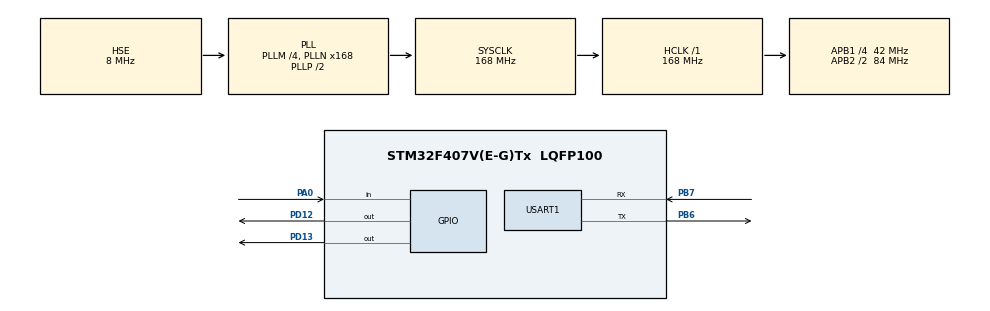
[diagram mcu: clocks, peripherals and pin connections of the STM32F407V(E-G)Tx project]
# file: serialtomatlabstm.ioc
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Mcu.Family=STM32F4
Mcu.Name=STM32F407V(E-G)Tx
Mcu.Package=LQFP100
NVIC.PriorityGroup=NVIC_PRIORITYGROUP_0
NVIC.USART1_IRQn=true\:0\:0\:false\:false\:true\:true
PA0-WKUP.Signal=GPIO_Input
PB6.Mode=Asynchronous
PB6.Signal=USART1_TX
PB7.Mode=Asynchronous
PB7.Signal=USART1_RX
PD12.Signal=GPIO_Output
PD13.Signal=GPIO_Output
PH0-OSC_IN.Mode=HSE-External-Oscillator
PH0-OSC_IN.Signal=RCC_OSC_IN
PH1-OSC_OUT.Mode=HSE-External-Oscillator
PH1-OSC_OUT.Signal=RCC_OSC_OUT
ProjectManager.HeapSize=0x200
ProjectManager.StackSize=0x400
ProjectManager.TargetToolchain=MDK-ARM V5
RCC.48MHZClocksFreq_Value=48000000
RCC.AHBFreq_Value=168000000
RCC.APB1CLKDivider=RCC_HCLK_DIV4
RCC.APB1Freq_Value=42000000
RCC.APB1TimFreq_Value=84000000
RCC.APB2CLKDivider=RCC_HCLK_DIV2
RCC.APB2Freq_Value=84000000
RCC.APB2TimFreq_Value=168000000
RCC.CortexFreq_Value=168000000
RCC.HCLKFreq_Value=168000000
RCC.HSE_VALUE=8000000
RCC.HSI_VALUE=16000000
RCC.LSE_VALUE=32768
RCC.PLLM=4
RCC.PLLN=168
RCC.PLLQ=7
RCC.PLLSourceVirtual=RCC_PLLSOURCE_HSE
RCC.SYSCLKFreq_VALUE=168000000
RCC.SYSCLKSource=RCC_SYSCLKSOURCE_PLLCLK
RCC.VCOOutputFreq_Value=336000000
USART1.VirtualMode=VM_ASYNC
board=STM32F4DISCOVERY

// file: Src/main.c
/* USER CODE BEGIN Header */
/**
  ******************************************************************************
  * @file           : main.c
  * @brief          : Main program body
  ******************************************************************************
  ** This notice applies to any and all portions of this file
  * that are not between comment pairs USER CODE BEGIN and
  * USER CODE END. Other portions of this file, whether
  * inserted by the user or by software development tools
  * are owned by their respective copyright owners.
  *
  * COPYRIGHT(c) 2019 STMicroelectronics
  *
  * Redistribution and use in source and binary forms, with or without modification,
  * are permitted provided that the following conditions are met:
  *   1. Redistributions of source code must retain the above copyright notice,
  *      this list of conditions and the following disclaimer.
  *   2. Redistributions in binary form must reproduce the above copyright notice,
  *      this list of conditions and the following disclaimer in the documentation
  *      and/or other materials provided with the distribution.
  *   3. Neither the name of STMicroelectronics nor the names of its contributors
  *      may be used to endorse or promote products derived from this software
  *      without specific prior written permission.
  *
  * THIS SOFTWARE IS PROVIDED BY THE COPYRIGHT HOLDERS AND CONTRIBUTORS "AS IS"
  * AND ANY EXPRESS OR IMPLIED WARRANTIES, INCLUDING, BUT NOT LIMITED TO, THE
  * IMPLIED WARRANTIES OF MERCHANTABILITY AND FITNESS FOR A PARTICULAR PURPOSE ARE
  * DISCLAIMED. IN NO EVENT SHALL THE COPYRIGHT HOLDER OR CONTRIBUTORS BE LIABLE
  * FOR ANY DIRECT, INDIRECT, INCIDENTAL, SPECIAL, EXEMPLARY, OR CONSEQUENTIAL
  * DAMAGES (INCLUDING, BUT NOT LIMITED TO, PROCUREMENT OF SUBSTITUTE GOODS OR
  * SERVICES; LOSS OF USE, DATA, OR PROFITS; OR BUSINESS INTERRUPTION) HOWEVER
  * CAUSED AND ON ANY THEORY OF LIABILITY, WHETHER IN CONTRACT, STRICT LIABILITY,
  * OR TORT (INCLUDING NEGLIGENCE OR OTHERWISE) ARISING IN ANY WAY OUT OF THE USE
  * OF THIS SOFTWARE, EVEN IF ADVISED OF THE POSSIBILITY OF SUCH DAMAGE.
  *
  ******************************************************************************
  */
/* USER CODE END Header */

#include "main.h"

/* USER CODE BEGIN Includes */
#include "stdio.h"
#include "stdlib.h"

/* USER CODE END Includes */

UART_HandleTypeDef huart1;

void SystemClock_Config(void);
static void MX_GPIO_Init(void);
static void MX_USART1_UART_Init(void);

/* USER CODE BEGIN 0 */
 char Rx_Index,Rx_Buffer[100],Rx_Data[2];
 int received;
/* USER CODE END 0 */

int main(void)
{
  /* USER CODE BEGIN 1 */
	uint8_t toggle=0;
  /* USER CODE END 1 */

  /* MCU Configuration--------------------------------------------------------*/

  /* Reset of all peripherals, Initializes the Flash interface and the Systick. */
  HAL_Init();

  /* Configure the system clock */
  SystemClock_Config();

  /* Initialize all configured peripherals */
  MX_GPIO_Init();
  MX_USART1_UART_Init();
  /* USER CODE BEGIN 2 */
	__HAL_UART_ENABLE_IT(&huart1,UART_IT_TC);
	HAL_UART_Receive_IT(&huart1,(uint8_t*)Rx_Data,1);
  char TxBuffer[16];
	int sayac=0;
	/* USER CODE END 2 */

  /* Infinite loop */
  /* USER CODE BEGIN WHILE */
  while (1)
  {
		HAL_GPIO_WritePin(GPIOD,GPIO_PIN_12,GPIO_PIN_SET);
		HAL_Delay(100);
		HAL_GPIO_WritePin(GPIOD,GPIO_PIN_12,GPIO_PIN_RESET);
		HAL_Delay(100);

		if((HAL_GPIO_ReadPin(GPIOA,GPIO_PIN_0)==GPIO_PIN_SET )&& toggle==0)

		{
			    sayac++;
					HAL_GPIO_TogglePin(GPIOD,GPIO_PIN_13);

		      toggle=1;

		}

		else if ((HAL_GPIO_ReadPin(GPIOA,GPIO_PIN_0)==GPIO_PIN_RESET ) && toggle==1)
			{

						toggle=0;
  		}

				 HAL_UART_Transmit(&huart1,(uint8_t*)TxBuffer,sprintf(TxBuffer,"%d \n",sayac),100);

    /* USER CODE END WHILE */

  }
}

void SystemClock_Config(void)
{
  RCC_OscInitTypeDef RCC_OscInitStruct = {0};
  RCC_ClkInitTypeDef RCC_ClkInitStruct = {0};

  /**Configure the main internal regulator output voltage
  */
  __HAL_RCC_PWR_CLK_ENABLE();
  __HAL_PWR_VOLTAGESCALING_CONFIG(PWR_REGULATOR_VOLTAGE_SCALE1);
  /**Initializes the CPU, AHB and APB busses clocks
  */
  RCC_OscInitStruct.OscillatorType = RCC_OSCILLATORTYPE_HSE;
  RCC_OscInitStruct.HSEState = RCC_HSE_ON;
  RCC_OscInitStruct.PLL.PLLState = RCC_PLL_ON;
  RCC_OscInitStruct.PLL.PLLSource = RCC_PLLSOURCE_HSE;
  RCC_OscInitStruct.PLL.PLLM = 4;
  RCC_OscInitStruct.PLL.PLLN = 168;
  RCC_OscInitStruct.PLL.PLLP = RCC_PLLP_DIV2;
  RCC_OscInitStruct.PLL.PLLQ = 7;
  if (HAL_RCC_OscConfig(&RCC_OscInitStruct) != HAL_OK)
  {
    Error_Handler();
  }
  /**Initializes the CPU, AHB and APB busses clocks
  */
  RCC_ClkInitStruct.ClockType = RCC_CLOCKTYPE_HCLK|RCC_CLOCKTYPE_SYSCLK
                              |RCC_CLOCKTYPE_PCLK1|RCC_CLOCKTYPE_PCLK2;
  RCC_ClkInitStruct.SYSCLKSource = RCC_SYSCLKSOURCE_PLLCLK;
  RCC_ClkInitStruct.AHBCLKDivider = RCC_SYSCLK_DIV1;
  RCC_ClkInitStruct.APB1CLKDivider = RCC_HCLK_DIV4;
  RCC_ClkInitStruct.APB2CLKDivider = RCC_HCLK_DIV2;

  if (HAL_RCC_ClockConfig(&RCC_ClkInitStruct, FLASH_LATENCY_5) != HAL_OK)
  {
    Error_Handler();
  }
}

static void MX_USART1_UART_Init(void)
{

  huart1.Instance = USART1;
  huart1.Init.BaudRate = 115200;
  huart1.Init.WordLength = UART_WORDLENGTH_8B;
  huart1.Init.StopBits = UART_STOPBITS_1;
  huart1.Init.Parity = UART_PARITY_NONE;
  huart1.Init.Mode = UART_MODE_TX_RX;
  huart1.Init.HwFlowCtl = UART_HWCONTROL_NONE;
  huart1.Init.OverSampling = UART_OVERSAMPLING_16;
  if (HAL_UART_Init(&huart1) != HAL_OK)
  {
    Error_Handler();
  }

}

static void MX_GPIO_Init(void)
{
  GPIO_InitTypeDef GPIO_InitStruct = {0};

  /* GPIO Ports Clock Enable */
  __HAL_RCC_GPIOH_CLK_ENABLE();
  __HAL_RCC_GPIOA_CLK_ENABLE();
  __HAL_RCC_GPIOD_CLK_ENABLE();
  __HAL_RCC_GPIOB_CLK_ENABLE();

  /*Configure GPIO pin Output Level */
  HAL_GPIO_WritePin(GPIOD, GPIO_PIN_12|GPIO_PIN_13, GPIO_PIN_RESET);

  /*Configure GPIO pin : PA0 */
  GPIO_InitStruct.Pin = GPIO_PIN_0;
  GPIO_InitStruct.Mode = GPIO_MODE_INPUT;
  GPIO_InitStruct.Pull = GPIO_NOPULL;
  HAL_GPIO_Init(GPIOA, &GPIO_InitStruct);

  /*Configure GPIO pins : PD12 PD13 */
  GPIO_InitStruct.Pin = GPIO_PIN_12|GPIO_PIN_13;
  GPIO_InitStruct.Mode = GPIO_MODE_OUTPUT_PP;
  GPIO_InitStruct.Pull = GPIO_NOPULL;
  GPIO_InitStruct.Speed = GPIO_SPEED_FREQ_LOW;
  HAL_GPIO_Init(GPIOD, &GPIO_InitStruct);

}

/* USER CODE BEGIN 4 */
void HAL_UART_RxCpltCallback(UART_HandleTypeDef *huart)
{

	HAL_GPIO_WritePin(GPIOD,GPIO_PIN_13,GPIO_PIN_SET);

	uint8_t i;
	if (huart->Instance==USART1)
	{

		if(Rx_Index==0){for(i=0;i<100;i++) Rx_Buffer[i]=0; }

		if(Rx_Data[0]!=13)
		{
			Rx_Buffer[Rx_Index++]=Rx_Data[0];

		}
		else

		{
			Rx_Index=0;
			received=atoi(Rx_Buffer);

		}

	HAL_UART_Receive_IT(&huart1,(uint8_t*)Rx_Data,1);

	}

}
/* USER CODE END 4 */

void Error_Handler(void)
{
}

/************************ (C) COPYRIGHT STMicroelectronics *****END OF FILE****/
